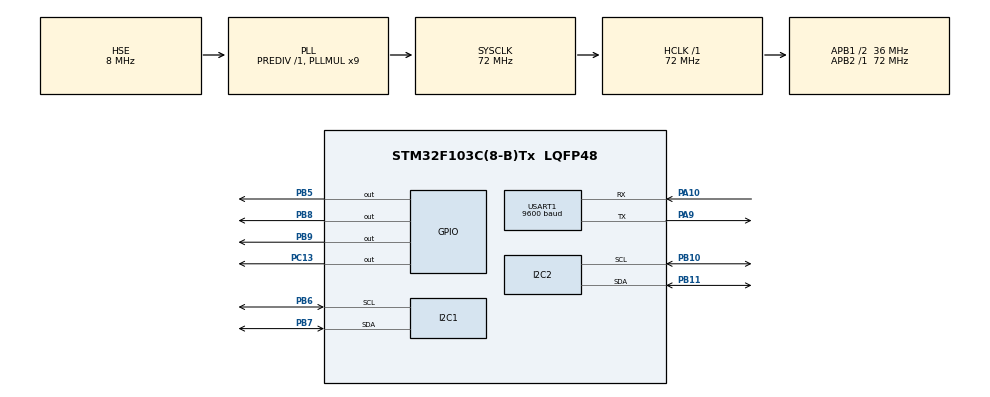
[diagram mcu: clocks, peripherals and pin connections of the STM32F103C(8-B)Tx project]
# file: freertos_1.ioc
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FREERTOS.Tasks01=task1,24,128,I2CLCD,Default,NULL,Dynamic,NULL,NULL;myTask02,24,128,I2C_Wifi,Default,NULL,Dynamic,NULL,NULL
FREERTOS.Timers01=myTimer01,Callback01,osTimerPeriodic,Default,NULL,Dynamic,NULL
FREERTOS.configUSE_CO_ROUTINES=0
FREERTOS.configUSE_TIMERS=1
I2C2.OwnAddress=0x02
Mcu.Family=STM32F1
Mcu.Name=STM32F103C(8-B)Tx
Mcu.Package=LQFP48
NVIC.I2C2_EV_IRQn=true\:5\:0\:false\:false\:true\:true\:true\:true
NVIC.PriorityGroup=NVIC_PRIORITYGROUP_4
NVIC.TIM4_IRQn=true\:0\:0\:false\:false\:true\:false\:false\:true
NVIC.TimeBase=TIM4_IRQn
NVIC.TimeBaseIP=TIM4
PA10.Mode=Asynchronous
PA10.Signal=USART1_RX
PA9.Mode=Asynchronous
PA9.Signal=USART1_TX
PB10.Mode=I2C
PB10.Signal=I2C2_SCL
PB11.Mode=I2C
PB11.Signal=I2C2_SDA
PB5.Signal=GPIO_Output
PB6.Mode=I2C
PB6.Signal=I2C1_SCL
PB7.Mode=I2C
PB7.Signal=I2C1_SDA
PB8.Signal=GPIO_Output
PB9.Signal=GPIO_Output
PC13-TAMPER-RTC.Signal=GPIO_Output
PD0-OSC_IN.Mode=HSE-External-Oscillator
PD0-OSC_IN.Signal=RCC_OSC_IN
PD1-OSC_OUT.Mode=HSE-External-Oscillator
PD1-OSC_OUT.Signal=RCC_OSC_OUT
ProjectManager.HeapSize=0x200
ProjectManager.StackSize=0x400
ProjectManager.TargetToolchain=STM32CubeIDE
RCC.AHBFreq_Value=72000000
RCC.APB1CLKDivider=RCC_HCLK_DIV2
RCC.APB1Freq_Value=36000000
RCC.APB1TimFreq_Value=72000000
RCC.APB2Freq_Value=72000000
RCC.APB2TimFreq_Value=72000000
RCC.HCLKFreq_Value=72000000
RCC.PLLMUL=RCC_PLL_MUL9
RCC.PLLSourceVirtual=RCC_PLLSOURCE_HSE
RCC.SYSCLKFreq_VALUE=72000000
RCC.SYSCLKSource=RCC_SYSCLKSOURCE_PLLCLK
RCC.USBFreq_Value=72000000
USART1.BaudRate=9600
USART1.VirtualMode=VM_ASYNC
VP_FREERTOS_VS_CMSIS_V2.Mode=CMSIS_V2
VP_SYS_VS_ND.Mode=No_Debug
VP_SYS_VS_tim4.Mode=TIM4
board=custom

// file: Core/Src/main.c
/* USER CODE BEGIN Header */
/**
 ******************************************************************************
 * @file           : main.c
 * @brief          : Main program body
 ******************************************************************************
 * @attention
 *
 * <h2><center>&copy; Copyright (c) 2020 STMicroelectronics.
 * All rights reserved.</center></h2>
 *
 * This software component is licensed by ST under BSD 3-Clause license,
 * the "License"; You may not use this file except in compliance with the
 * License. You may obtain a copy of the License at:
 *                        opensource.org/licenses/BSD-3-Clause
 *
 ******************************************************************************
 */
/* USER CODE END Header */
#include "main.h"
#include "cmsis_os.h"

I2C_HandleTypeDef hi2c1;
I2C_HandleTypeDef hi2c2;

UART_HandleTypeDef huart1;

/* Definitions for task1 */
osThreadId_t task1Handle;
const osThreadAttr_t task1_attributes = {
  .name = "task1",
  .priority = (osPriority_t) osPriorityNormal,
  .stack_size = 128 * 4
};
/* Definitions for myTask02 */
osThreadId_t myTask02Handle;
const osThreadAttr_t myTask02_attributes = {
  .name = "myTask02",
  .priority = (osPriority_t) osPriorityNormal,
  .stack_size = 128 * 4
};
/* Definitions for myTimer01 */
osTimerId_t myTimer01Handle;
const osTimerAttr_t myTimer01_attributes = {
  .name = "myTimer01"
};
/* USER CODE BEGIN PV */

uint32_t ReceiveCount;
uint8_t RxBuffer[16];
/* USER CODE END PV */

void SystemClock_Config(void);
static void MX_GPIO_Init(void);
static void MX_USART1_UART_Init(void);
static void MX_I2C1_Init(void);
static void MX_I2C2_Init(void);
void I2CLCD(void *argument);
void I2C_Wifi(void *argument);
void Callback01(void *argument);

int main(void)
{

  /* MCU Configuration--------------------------------------------------------*/

  /* Reset of all peripherals, Initializes the Flash interface and the Systick. */
  HAL_Init();

  /* Configure the system clock */
  SystemClock_Config();

  /* Initialize all configured peripherals */
  MX_GPIO_Init();
  MX_USART1_UART_Init();
  MX_I2C1_Init();
  MX_I2C2_Init();

  /* Init scheduler */
  osKernelInitialize();

  /* Create the timer(s) */
  /* creation of myTimer01 */
  myTimer01Handle = osTimerNew(Callback01, osTimerPeriodic, NULL, &myTimer01_attributes);

  /* Create the thread(s) */
  /* creation of task1 */
  task1Handle = osThreadNew(I2CLCD, NULL, &task1_attributes);

  /* creation of myTask02 */
  myTask02Handle = osThreadNew(I2C_Wifi, NULL, &myTask02_attributes);

  osTimerStart(myTimer01Handle, 500);
  /* Start scheduler */
  osKernelStart();

  /* We should never get here as control is now taken by the scheduler */
  /* Infinite loop */
	while (1)
	{

	}
}

void SystemClock_Config(void)
{
  RCC_OscInitTypeDef RCC_OscInitStruct = {0};
  RCC_ClkInitTypeDef RCC_ClkInitStruct = {0};

  /** Initializes the RCC Oscillators according to the specified parameters
  * in the RCC_OscInitTypeDef structure.
  */
  RCC_OscInitStruct.OscillatorType = RCC_OSCILLATORTYPE_HSE;
  RCC_OscInitStruct.HSEState = RCC_HSE_ON;
  RCC_OscInitStruct.HSEPredivValue = RCC_HSE_PREDIV_DIV1;
  RCC_OscInitStruct.HSIState = RCC_HSI_ON;
  RCC_OscInitStruct.PLL.PLLState = RCC_PLL_ON;
  RCC_OscInitStruct.PLL.PLLSource = RCC_PLLSOURCE_HSE;
  RCC_OscInitStruct.PLL.PLLMUL = RCC_PLL_MUL9;
  if (HAL_RCC_OscConfig(&RCC_OscInitStruct) != HAL_OK)
  {
    Error_Handler();
  }
  /** Initializes the CPU, AHB and APB buses clocks
  */
  RCC_ClkInitStruct.ClockType = RCC_CLOCKTYPE_HCLK|RCC_CLOCKTYPE_SYSCLK
                              |RCC_CLOCKTYPE_PCLK1|RCC_CLOCKTYPE_PCLK2;
  RCC_ClkInitStruct.SYSCLKSource = RCC_SYSCLKSOURCE_PLLCLK;
  RCC_ClkInitStruct.AHBCLKDivider = RCC_SYSCLK_DIV1;
  RCC_ClkInitStruct.APB1CLKDivider = RCC_HCLK_DIV2;
  RCC_ClkInitStruct.APB2CLKDivider = RCC_HCLK_DIV1;

  if (HAL_RCC_ClockConfig(&RCC_ClkInitStruct, FLASH_LATENCY_2) != HAL_OK)
  {
    Error_Handler();
  }
}

static void MX_I2C1_Init(void)
{

  hi2c1.Instance = I2C1;
  hi2c1.Init.ClockSpeed = 100000;
  hi2c1.Init.DutyCycle = I2C_DUTYCYCLE_2;
  hi2c1.Init.OwnAddress1 = 0;
  hi2c1.Init.AddressingMode = I2C_ADDRESSINGMODE_7BIT;
  hi2c1.Init.DualAddressMode = I2C_DUALADDRESS_DISABLE;
  hi2c1.Init.OwnAddress2 = 0;
  hi2c1.Init.GeneralCallMode = I2C_GENERALCALL_DISABLE;
  hi2c1.Init.NoStretchMode = I2C_NOSTRETCH_DISABLE;
  if (HAL_I2C_Init(&hi2c1) != HAL_OK)
  {
    Error_Handler();
  }

}

static void MX_I2C2_Init(void)
{

  hi2c2.Instance = I2C2;
  hi2c2.Init.ClockSpeed = 100000;
  hi2c2.Init.DutyCycle = I2C_DUTYCYCLE_2;
  hi2c2.Init.OwnAddress1 = 4;
  hi2c2.Init.AddressingMode = I2C_ADDRESSINGMODE_7BIT;
  hi2c2.Init.DualAddressMode = I2C_DUALADDRESS_DISABLE;
  hi2c2.Init.OwnAddress2 = 0;
  hi2c2.Init.GeneralCallMode = I2C_GENERALCALL_DISABLE;
  hi2c2.Init.NoStretchMode = I2C_NOSTRETCH_DISABLE;
  if (HAL_I2C_Init(&hi2c2) != HAL_OK)
  {
    Error_Handler();
  }
  /* USER CODE BEGIN I2C2_Init 2 */
  /* The board receives the message and sends it back */

  /*##-2- Put I2C peripheral in reception process ############################*/

  /*##-4- Start the transmission process #####################################*/
  /* While the I2C in reception process, user can transmit data through
     "aTxBuffer" buffer */

  /* USER CODE END I2C2_Init 2 */

}

static void MX_USART1_UART_Init(void)
{

  huart1.Instance = USART1;
  huart1.Init.BaudRate = 9600;
  huart1.Init.WordLength = UART_WORDLENGTH_8B;
  huart1.Init.StopBits = UART_STOPBITS_1;
  huart1.Init.Parity = UART_PARITY_NONE;
  huart1.Init.Mode = UART_MODE_TX_RX;
  huart1.Init.HwFlowCtl = UART_HWCONTROL_NONE;
  huart1.Init.OverSampling = UART_OVERSAMPLING_16;
  if (HAL_UART_Init(&huart1) != HAL_OK)
  {
    Error_Handler();
  }

}

static void MX_GPIO_Init(void)
{
  GPIO_InitTypeDef GPIO_InitStruct = {0};

  /* GPIO Ports Clock Enable */
  __HAL_RCC_GPIOC_CLK_ENABLE();
  __HAL_RCC_GPIOD_CLK_ENABLE();
  __HAL_RCC_GPIOB_CLK_ENABLE();
  __HAL_RCC_GPIOA_CLK_ENABLE();

  /*Configure GPIO pin Output Level */
  HAL_GPIO_WritePin(GPIOC, GPIO_PIN_13, GPIO_PIN_RESET);

  /*Configure GPIO pin Output Level */
  HAL_GPIO_WritePin(GPIOB, GPIO_PIN_5|GPIO_PIN_8|GPIO_PIN_9, GPIO_PIN_RESET);

  /*Configure GPIO pin : PC13 */
  GPIO_InitStruct.Pin = GPIO_PIN_13;
  GPIO_InitStruct.Mode = GPIO_MODE_OUTPUT_PP;
  GPIO_InitStruct.Pull = GPIO_NOPULL;
  GPIO_InitStruct.Speed = GPIO_SPEED_FREQ_LOW;
  HAL_GPIO_Init(GPIOC, &GPIO_InitStruct);

  /*Configure GPIO pins : PB5 PB8 PB9 */
  GPIO_InitStruct.Pin = GPIO_PIN_5|GPIO_PIN_8|GPIO_PIN_9;
  GPIO_InitStruct.Mode = GPIO_MODE_OUTPUT_PP;
  GPIO_InitStruct.Pull = GPIO_NOPULL;
  GPIO_InitStruct.Speed = GPIO_SPEED_FREQ_LOW;
  HAL_GPIO_Init(GPIOB, &GPIO_InitStruct);

}

void I2CLCD(void *argument)
{
  /* USER CODE BEGIN 5 */
	/* Infinite loop */
	lcd_init();
	lcd_send_string("Hola' 'putos");
	lcd_send_cmd(0xc0);
	char arreglo[10]= "Pls' 'Steal";
	for(int i=0; i<11;i++){
		lcd_send_data(arreglo[i]);
	}

	for(;;)
	{
		HAL_GPIO_TogglePin(GPIOB, GPIO_PIN_9);
		osDelay(1000);

	}
  /* USER CODE END 5 */
}

void I2C_Wifi(void *argument)
{
  /* USER CODE BEGIN I2C_Wifi */
  /* Infinite loop */
  for(;;)
  {
	  if(HAL_I2C_Slave_Receive_IT(&hi2c2, (uint8_t *)RxBuffer, 16) != HAL_OK)
	    {
	      /* Transfer error in reception process */
	      Error_Handler();
	    }

	    /*##-3- Wait for the end of the transfer ###################################*/
	    /*  Before starting a new communication transfer, you need to check the current
	        state of the peripheral; if it’s busy you need to wait for the end of current
	        transfer before starting a new one.
	        For simplicity reasons, this example is just waiting till the end of the
	        transfer, but application may perform other tasks while transfer operation
	        is ongoing. */
	    while (HAL_I2C_GetState(&hi2c2) != HAL_I2C_STATE_READY)
	    {
	    }
  }
  /* USER CODE END I2C_Wifi */
}

/* Callback01 function */
void Callback01(void *argument)
{
  /* USER CODE BEGIN Callback01 */
	HAL_GPIO_TogglePin(GPIOB, GPIO_PIN_8);
	osTimerStart(myTimer01Handle, 500);
  /* USER CODE END Callback01 */
}

 /**
  * @brief  Period elapsed callback in non blocking mode
  * @note   This function is called  when TIM4 interrupt took place, inside
  * HAL_TIM_IRQHandler(). It makes a direct call to HAL_IncTick() to increment
  * a global variable "uwTick" used as application time base.
  * @param  htim : TIM handle
  * @retval None
  */
void HAL_I2C_SlaveRxCpltCallback(I2C_HandleTypeDef *hi2c2)
{
  /* Turn LED6 on: Transfer in reception process is correct */
	HAL_GPIO_TogglePin(GPIOB, GPIO_PIN_5);
	HAL_GPIO_TogglePin(GPIOC, GPIO_PIN_13);
	lcd_send_cmd(0xc0);

	for(int i=0; i<16;i++){
		lcd_send_data(RxBuffer[i]);
	}

}
void HAL_TIM_PeriodElapsedCallback(TIM_HandleTypeDef *htim)
{
  if (htim->Instance == TIM4) {
    HAL_IncTick();
  }
}

void Error_Handler(void)
{
	__disable_irq();
	while (1)
	{
	}
}

/************************ (C) COPYRIGHT STMicroelectronics *****END OF FILE****/
